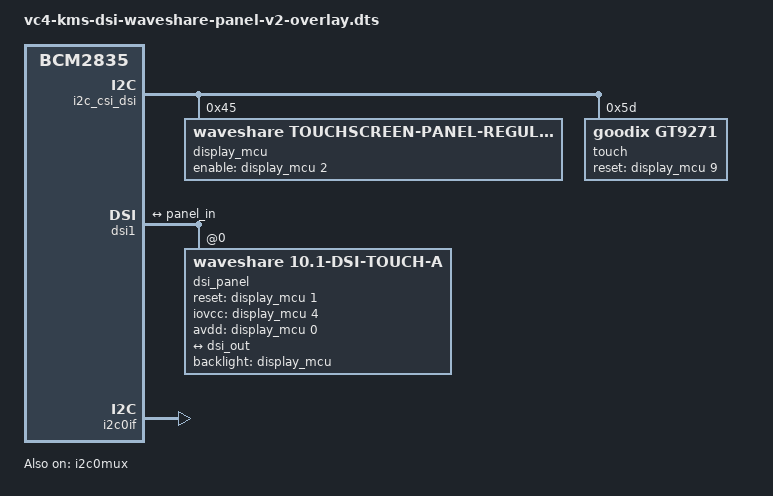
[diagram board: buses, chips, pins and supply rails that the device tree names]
/*
 * vc4-kms-dsi-waveshare-panel-v2-overlay.dts
 *
 * Source: raspberrypi/linux rpi-6.18.y arch/arm/boot/dts/overlays.
 * 5.10 backport for Venus OS (Raspberry Pi 4, bcm2711-rpi-4-b.dtb of
 * kernel 5.10.110): the "dsi0" override was removed, because it refers to the
 * label i2c_csi_dsi0 which does not exist in the 5.10 base device tree; an
 * unresolved fixup makes the firmware reject the whole overlay. The Pi 4B only
 * has the DSI1 connector anyway.
 *
 * Usage (config.txt), together with dtoverlay=vc4-kms-v3d-pi4:
 *   dtoverlay=vc4-kms-dsi-waveshare-panel-v2,7_0_inch_a
 */

/dts-v1/;
/plugin/;

#include <dt-bindings/gpio/gpio.h>

/ {
	compatible = "brcm,bcm2835";

	i2c_frag: fragment@0 {
		target = <&i2c_csi_dsi>;
		__overlay__ {
			#address-cells = <1>;
			#size-cells = <0>;
			status = "okay";

			display_mcu: display_mcu@45 {
				compatible = "waveshare,touchscreen-panel-regulator";
				reg = <0x45>;
				gpio-controller;
				#gpio-cells = <2>;
				enable-gpio = <&display_mcu 2 GPIO_ACTIVE_HIGH>;
			};

			touch: touch@5d {
				compatible = "goodix,gt9271";
				reg = <0x5d>;
				reset-gpio = <&display_mcu 9 GPIO_ACTIVE_HIGH>;
			};
		};
	};

	dsi_frag: fragment@1 {
		target = <&dsi1>;
		__overlay__  {
			#address-cells = <1>;
			#size-cells = <0>;
			status = "okay";

			port {
				dsi_out: endpoint {
					remote-endpoint = <&panel_in>;
				};
			};

			dsi_panel: dsi_panel@0 {
				reg = <0>;
				compatible = "waveshare,10.1-dsi-touch-a";
				reset-gpio = <&display_mcu 1 GPIO_ACTIVE_HIGH>;
				iovcc-gpio = <&display_mcu 4 GPIO_ACTIVE_HIGH>;
				avdd-gpio = <&display_mcu 0 GPIO_ACTIVE_HIGH>;
				backlight = <&display_mcu>;

				port {
					panel_in: endpoint {
						remote-endpoint = <&dsi_out>;
					};
				};
			};
		};
	};

	fragment@2 {
		target = <&i2c0if>;
		__overlay__ {
			status = "okay";
		};
	};

	fragment@3 {
		target = <&i2c0mux>;
		__overlay__ {
			status = "okay";
		};
	};

	__overrides__ {
		3_4_inch_c = <&dsi_panel>, "compatible=waveshare,3.4-dsi-touch-c";
		4_0_inch_a = <&dsi_panel>, "compatible=waveshare,4.0-dsi-touch-a";
		4_0_inch_c = <&dsi_panel>, "compatible=waveshare,4.0-dsi-touch-c";
		4_3_inch_a = <&dsi_panel>, "compatible=waveshare,4.3-dsi-touch-a";
		5_0_inch_a = <&dsi_panel>, "compatible=waveshare,5.0-dsi-touch-a";
		5_0_inch_a_v2 = <&dsi_panel>, "compatible=waveshare,5.0-dsi-touch-a-v2";
		5_0_inch_b = <&dsi_panel>, "compatible=waveshare,5.0-dsi-touch-b";
		5_5_inch_a = <&dsi_panel>, "compatible=waveshare,5.5-dsi-touch-a";
		6_25_inch_a = <&dsi_panel>, "compatible=waveshare,6.25-dsi-touch-a",
			      <&touch>, "compatible=sitronix,st7123",
			      <&touch>, "reg:0=0x55";
		7_0_inch_a = <&dsi_panel>, "compatible=waveshare,7.0-dsi-touch-a";
		7_0_inch_b = <&dsi_panel>, "compatible=waveshare,7.0-dsi-touch-b";
		7_0_inch_c = <&dsi_panel>, "compatible=waveshare,7.0-dsi-touch-c";
		8_0_inch_a = <&dsi_panel>, "compatible=waveshare,8.0-dsi-touch-a";
		8_0_inch_a_4lane = <&dsi_panel>, "compatible=waveshare,8.0-dsi-touch-a-4lane";
		8_8_inch_a = <&dsi_panel>, "compatible=waveshare,8.8-dsi-touch-a",
			     <&display_mcu>, "pre-power-on?";
		9_0_inch_b = <&dsi_panel>, "compatible=waveshare,9.0-dsi-touch-b",
			     <&touch>, "touchscreen-inverted-x";
		9_0_inch_b_4lane = <&dsi_panel>, "compatible=waveshare,9.0-dsi-touch-b-4lane",
				   <&touch>, "touchscreen-inverted-x";
		10_1_inch_a = <&dsi_panel>, "compatible=waveshare,10.1-dsi-touch-a";
		10_1_inch_a_4lane = <&dsi_panel>, "compatible=waveshare,10.1-dsi-touch-a-4lane";
		10_1_inch_b = <&dsi_panel>, "compatible=waveshare,10.1-dsi-touch-b",
			      <&touch>, "touchscreen-inverted-y";
		10_1_inch_b_4lane = <&dsi_panel>, "compatible=waveshare,10.1-dsi-touch-b-4lane",
				    <&touch>, "touchscreen-inverted-y";
		10_1_inch_e_4lane = <&dsi_panel>, "compatible=waveshare,10.1-dsi-touch-e-4lane";
		12_3_inch_a_4lane = <&dsi_panel>, "compatible=waveshare,12.3-dsi-touch-a-4lane",
				    <&touch>, "touchscreen-swapped-x-y",
				    <&touch>, "touchscreen-inverted-y";
		disable_touch = <&touch>, "status=disabled";
		invx = <&touch>,"touchscreen-inverted-x?";
		invy = <&touch>,"touchscreen-inverted-y?";
		swapxy = <&touch>,"touchscreen-swapped-x-y?";
		/* 5.10 backport: "dsi0" override removed (no i2c_csi_dsi0 label) */
	};
};
